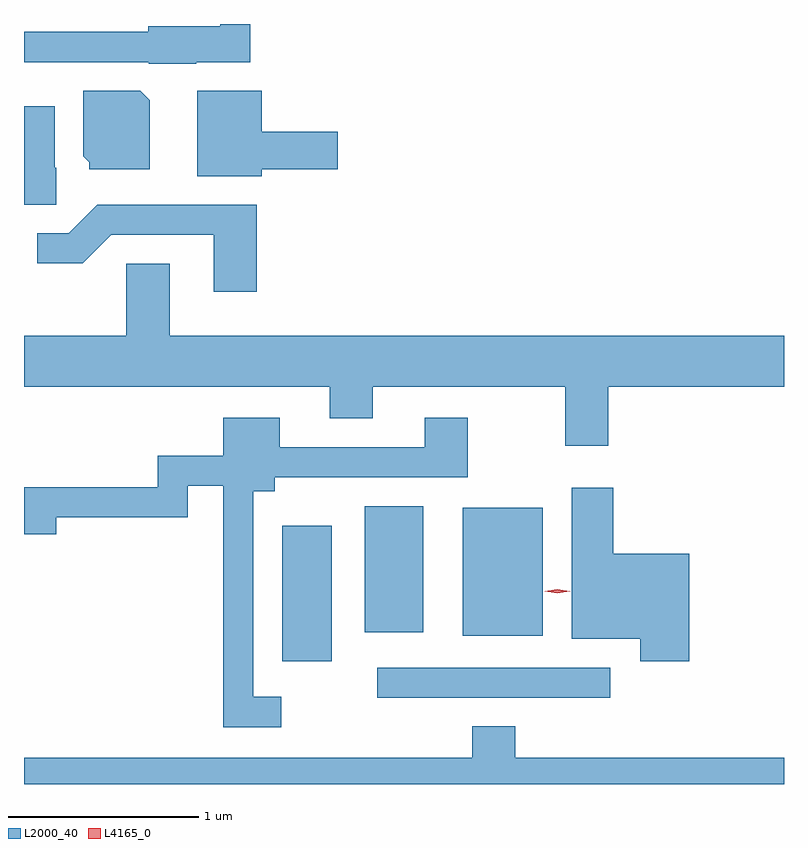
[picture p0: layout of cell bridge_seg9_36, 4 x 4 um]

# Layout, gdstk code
import gdstk
lib = gdstk.Library(unit=1e-6, precision=1e-09)
def R(c, l, rs):  # rectangles x0, y0, x1, y1
    for r in rs: c.add(gdstk.rectangle(r[:2], r[2:], *l))
def P(c, l, *ps):  # polygons
    for p in ps: c.add(gdstk.Polygon(p, *l))
L2000_40 = (2000, 40)
L4165_0 = (4165, 0)

bridge_seg9_36 = lib.new_cell('bridge_seg9_36')
R(bridge_seg9_36, L2000_40, [(1642.083,2027.921,1643.308,2028.079), (1641.581,2028.111,1641.844,2028.824), (1642.531,2028.246,1642.954,2028.919), (1642.016,2028.266,1642.324,2028.929)])
P(bridge_seg9_36, L2000_40, [(1641.13,2031.266),(1641.414,2031.266),(1641.414,2031.466),(1641.256,2031.466),(1641.256,2031.454),(1640.876,2031.454),(1640.876,2031.424),(1640.223,2031.424),(1640.223,2031.266),(1640.88,2031.266),(1640.88,2031.256),(1641.13,2031.256)],
  [(1641.474,2030.701),(1641.874,2030.701),(1641.874,2030.899),(1641.474,2030.899),(1641.474,2031.114),(1641.136,2031.114),(1641.136,2030.666),(1641.474,2030.666)],
  [(1640.884,2031.064),(1640.834,2031.114),(1640.536,2031.114),(1640.536,2030.769),(1640.566,2030.739),(1640.566,2030.701),(1640.884,2030.701)],
  [(1640.394,2030.71),(1640.384,2030.71),(1640.384,2031.034),(1640.223,2031.034),(1640.223,2030.516),(1640.394,2030.516)],
  [(1641.449,2030.514),(1640.609,2030.514),(1640.459,2030.364),(1640.293,2030.364),(1640.293,2030.206),(1640.532,2030.206),(1640.682,2030.356),(1641.221,2030.356),(1641.221,2030.056),(1641.449,2030.056)],
  [(1643.299,2029.556),(1644.223,2029.556),(1644.223,2029.824),(1640.989,2029.824),(1640.989,2030.204),(1640.761,2030.204),(1640.761,2029.824),(1640.223,2029.824),(1640.223,2029.556),(1641.831,2029.556),(1641.831,2029.391),(1642.059,2029.391),(1642.059,2029.556),(1643.071,2029.556),(1643.071,2029.246),(1643.299,2029.246)],
  [(1641.578,2027.924),(1641.429,2027.924),(1641.429,2029.006),(1641.544,2029.006),(1641.544,2029.081),(1642.559,2029.081),(1642.559,2029.394),(1642.331,2029.394),(1642.331,2029.239),(1641.569,2029.239),(1641.569,2029.394),(1641.271,2029.394),(1641.271,2029.194),(1640.926,2029.194),(1640.926,2029.029),(1640.223,2029.029),(1640.223,2028.781),(1640.394,2028.781),(1640.394,2028.871),(1641.084,2028.871),(1641.084,2029.036),(1641.271,2029.036),(1641.271,2027.766),(1641.578,2027.766)],
  [(1643.724,2028.679),(1643.324,2028.679),(1643.324,2029.024),(1643.106,2029.024),(1643.106,2028.231),(1643.466,2028.231),(1643.466,2028.111),(1643.724,2028.111)],
  [(1644.223,2027.604),(1642.809,2027.604),(1642.809,2027.769),(1642.581,2027.769),(1642.581,2027.604),(1640.223,2027.604),(1640.223,2027.466),(1644.223,2027.466)])
P(bridge_seg9_36, L4165_0, [(1643.03,2028.47),(1642.964,2028.48),(1642.963,2028.48),(1642.964,2028.481),(1643.03,2028.49),(1643.096,2028.481),(1643.097,2028.48),(1643.096,2028.48)])

lib.write_gds('bridge_seg9_36.gds')
